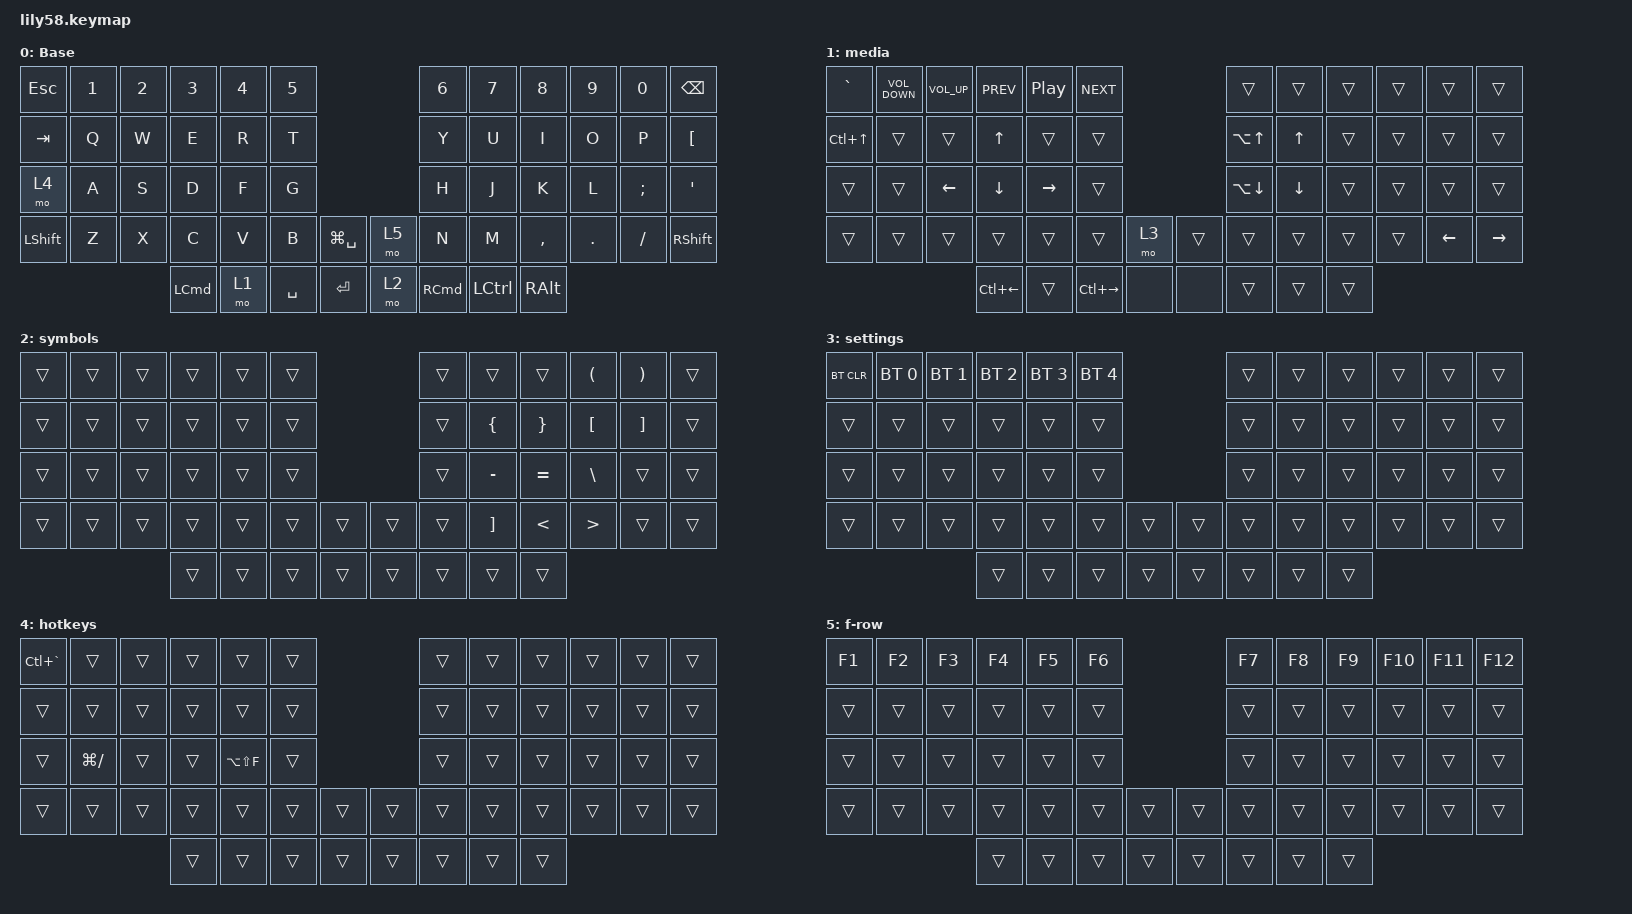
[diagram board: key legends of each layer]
/*
 * Copyright (c) 2020 The ZMK Contributors
 *
 * SPDX-License-Identifier: MIT
 */

#include <behaviors.dtsi>
#include <dt-bindings/zmk/bt.h>
#include <dt-bindings/zmk/keys.h>

/ {
    keymap {
        compatible = "zmk,keymap";

        default {
            // ------------------------------------------------------------------------------------------------------------
            // |  ESC  |  1  |  2  |  3   |  4   |  5   |                   |  6   |  7    |  8    |  9   |   0   |   `   |
            // |  TAB  |  Q  |  W  |  E   |  R   |  T   |                   |  Y   |  U    |  I    |  O   |   P   |   -   |
            // |  CTRL |  A  |  S  |  D   |  F   |  G   |                   |  H   |  J    |  K    |  L   |   ;   |   '   |
            // | SHIFT |  Z  |  X  |  C   |  V   |  B   |   "["  |  |  "]"  |  N   |  M    |  ,    |  .   |   /   | SHIFT |
            //                     | ALT  | GUI  | LOWER|  SPACE |  | ENTER | RAISE| BSPC  | GUI   |

            display-name = "Base";
            bindings = <
&kp ESCAPE      &kp N1  &kp N2  &kp N3            &kp N4  &kp N5                             &kp N6             &kp N7            &kp N8         &kp N9   &kp N0    &kp BACKSPACE
&kp TAB         &kp Q   &kp W   &kp E             &kp R   &kp T                              &kp Y              &kp U             &kp I          &kp O    &kp P     &kp LEFT_BRACKET
&mo 4           &kp A   &kp S   &kp D             &kp F   &kp G                              &kp H              &kp J             &kp K          &kp L    &kp SEMI  &kp SQT
&kp LEFT_SHIFT  &kp Z   &kp X   &kp C             &kp V   &kp B      &kp LG(SPACE)    &mo 5  &kp N              &kp M             &kp COMMA      &kp DOT  &kp FSLH  &kp RIGHT_SHIFT
                                &kp LEFT_COMMAND  &mo 1   &kp SPACE  &kp RETURN       &mo 2  &kp RIGHT_COMMAND  &kp LEFT_CONTROL  &kp RIGHT_ALT
            >;
        };

        media {
            bindings = <
&kp GRAVE         &kp C_VOLUME_DOWN  &kp C_VOLUME_UP  &kp C_PREV          &kp C_PLAY_PAUSE  &kp C_NEXT                            &trans              &trans          &trans  &trans  &trans          &trans
&kp LC(UP_ARROW)  &trans             &trans           &kp UP_ARROW        &trans            &trans                                &kp LA(UP_ARROW)    &kp UP_ARROW    &trans  &trans  &trans          &trans
&trans            &trans             &kp LEFT_ARROW   &kp DOWN_ARROW      &kp RIGHT_ARROW   &trans                                &kp LA(DOWN_ARROW)  &kp DOWN_ARROW  &trans  &trans  &trans          &trans
&trans            &trans             &trans           &trans              &trans            &trans               &mo 3    &trans  &trans              &trans          &trans  &trans  &kp LEFT_ARROW  &kp RIGHT_ARROW
                                                      &kp LC(LEFT_ARROW)  &trans            &kp LC(RIGHT_ARROW)  &none    &none   &trans              &trans          &trans
            >;
        };

        symbols {
            bindings = <
&trans  &trans  &trans  &trans  &trans  &trans                    &trans  &trans             &trans           &kp LEFT_PARENTHESIS  &kp RIGHT_PARENTHESIS  &trans
&trans  &trans  &trans  &trans  &trans  &trans                    &trans  &kp LEFT_BRACE     &kp RIGHT_BRACE  &kp LEFT_BRACKET      &kp RIGHT_BRACKET      &trans
&trans  &trans  &trans  &trans  &trans  &trans                    &trans  &kp MINUS          &kp EQUAL        &kp BACKSLASH         &trans                 &trans
&trans  &trans  &trans  &trans  &trans  &trans  &trans    &trans  &trans  &kp RIGHT_BRACKET  &kp LESS_THAN    &kp GREATER_THAN      &trans                 &trans
                        &trans  &trans  &trans  &trans    &trans  &trans  &trans             &trans
            >;
        };

        settings {
            bindings = <
&bt BT_CLR  &bt BT_SEL 0  &bt BT_SEL 1  &bt BT_SEL 2  &bt BT_SEL 3  &bt BT_SEL 4                    &trans  &trans  &trans  &trans  &trans  &trans
&trans      &trans        &trans        &trans        &trans        &trans                          &trans  &trans  &trans  &trans  &trans  &trans
&trans      &trans        &trans        &trans        &trans        &trans                          &trans  &trans  &trans  &trans  &trans  &trans
&trans      &trans        &trans        &trans        &trans        &trans        &trans    &trans  &trans  &trans  &trans  &trans  &trans  &trans
                                        &trans        &trans        &trans        &trans    &trans  &trans  &trans  &trans
            >;
        };

        hotkeys {
            bindings = <
&kp LC(GRAVE)  &trans         &trans  &trans  &trans         &trans                    &trans  &trans  &trans  &trans  &trans  &trans
&trans         &trans         &trans  &trans  &trans         &trans                    &trans  &trans  &trans  &trans  &trans  &trans
&trans         &kp LG(SLASH)  &trans  &trans  &kp LA(LS(F))  &trans                    &trans  &trans  &trans  &trans  &trans  &trans
&trans         &trans         &trans  &trans  &trans         &trans  &trans    &trans  &trans  &trans  &trans  &trans  &trans  &trans
                                      &trans  &trans         &trans  &trans    &trans  &trans  &trans  &trans
            >;
        };

        f-row {
            bindings = <
&kp F1  &kp F2  &kp F3  &kp F4  &kp F5  &kp F6                    &kp F7  &kp F8  &kp F9  &kp F10  &kp F11  &kp F12
&trans  &trans  &trans  &trans  &trans  &trans                    &trans  &trans  &trans  &trans   &trans   &trans
&trans  &trans  &trans  &trans  &trans  &trans                    &trans  &trans  &trans  &trans   &trans   &trans
&trans  &trans  &trans  &trans  &trans  &trans  &trans    &trans  &trans  &trans  &trans  &trans   &trans   &trans
                        &trans  &trans  &trans  &trans    &trans  &trans  &trans  &trans
            >;
        };
    };
};
